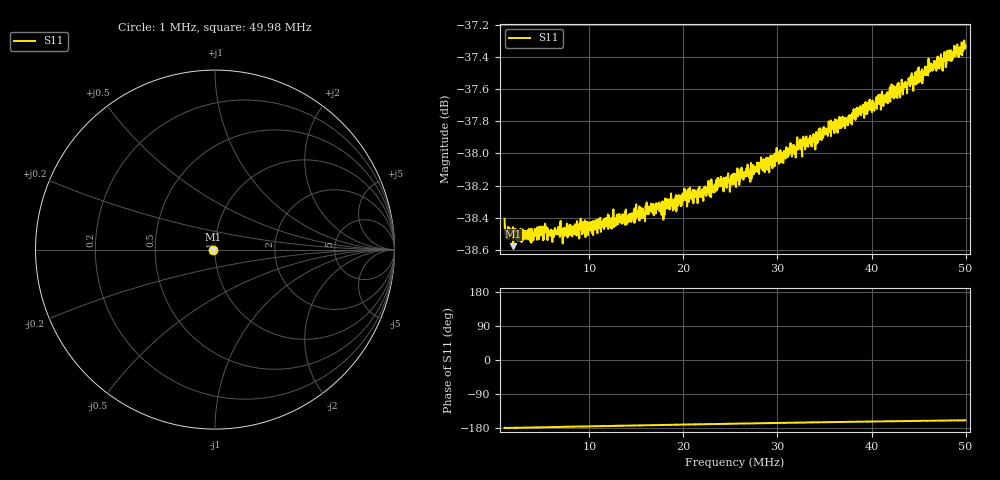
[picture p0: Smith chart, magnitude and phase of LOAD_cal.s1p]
! Created with skrf (http://scikit-rf.org).
# Hz S RI R 50.0
!freq ReS11 ImS11
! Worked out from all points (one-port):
!   2000 points, 1 MHz to 49.98 MHz, reference 50 ohm
!   lowest |S11| = -38.6 dB at 1.907 MHz (marker M1), VSWR 1.02, Z = 48.8 - j0.0211 ohm
!   |S11| at or under -10 dB: start of sweep to end of sweep
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1000000  -0.012 -0.00024
1269500  -0.0118 -0.000163
1906500  -0.0118 -0.000216
3891000  -0.0119 -0.000371
4895500  -0.0119 -0.000489
7125000  -0.0119 -0.000726
9207500  -0.0119 -0.000932
9697500  -0.0119 -0.000934
1.325e7  -0.0119 -0.00143
1.71945e7  -0.012 -0.00169
1.7758e7  -0.012 -0.0018
1.8297e7  -0.012 -0.00184
1.9375e7  -0.012 -0.00197
2.01345e7  -0.012 -0.00199
2.18985e7  -0.012 -0.00222
2.39075e7  -0.0121 -0.0024
2.55e7  -0.0121 -0.00258
3.1625e7  -0.0122 -0.00318
3.775e7  -0.0123 -0.00372
3.8583e7  -0.0124 -0.0038
4.01755e7  -0.0124 -0.00399
4.0935e7  -0.0124 -0.00403
4.14985e7  -0.0125 -0.00408
4.22825e7  -0.0125 -0.00418
4.3875e7  -0.0125 -0.00435
4.89465e7  -0.0127 -0.00476
4.94855e7  -0.0126 -0.00477
4.99755e7  -0.0127 -0.00488
